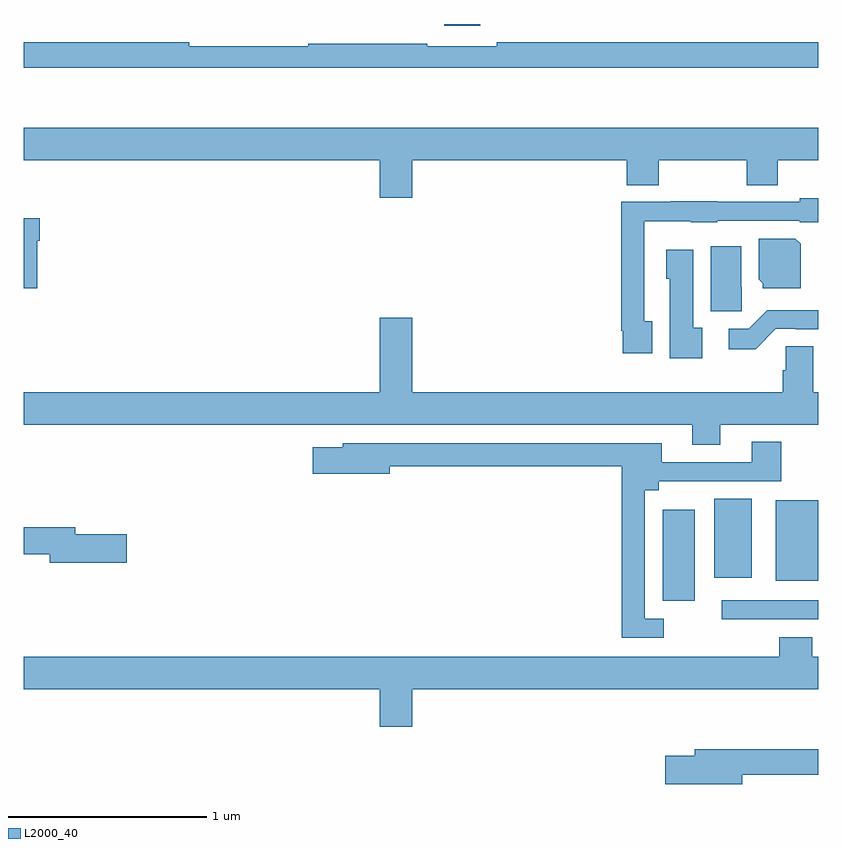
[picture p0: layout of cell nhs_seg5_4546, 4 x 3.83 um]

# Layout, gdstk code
import gdstk
lib = gdstk.Library(unit=1e-6, precision=1e-09)
def R(c, l, rs):  # rectangles x0, y0, x1, y1
    for r in rs: c.add(gdstk.rectangle(r[:2], r[2:], *l))
def P(c, l, *ps):  # polygons
    for p in ps: c.add(gdstk.Polygon(p, *l))
L2000_40 = (2000, 40)

nhs_seg5_4546 = lib.new_cell('nhs_seg5_4546')
R(nhs_seg5_4546, L2000_40, [(382.515,835.8,383,835.896), (382.217,835.895,382.378,836.353), (382.787,835.994,383,836.401), (382.478,836.009,382.666,836.407), (381.116,838.791,381.299,838.799)])
P(nhs_seg5_4546, L2000_40, [(383,838.706),(381.382,838.706),(381.382,838.686),(381.032,838.686),(381.032,838.699),(380.432,838.699),(380.432,838.688),(379.832,838.688),(379.832,838.706),(379,838.706),(379,838.578),(383,838.578)],
  [(379,838.112),(380.792,838.112),(380.792,837.924),(380.956,837.924),(380.956,838.112),(382.037,838.112),(382.037,837.988),(382.197,837.988),(382.197,838.112),(382.642,838.112),(382.642,837.988),(382.797,837.988),(382.797,838.112),(383,838.112),(383,838.276),(379,838.276)],
  [(382.165,837.302),(382.125,837.302),(382.125,837.806),(382.359,837.806),(382.359,837.8),(382.491,837.8),(382.491,837.807),(382.908,837.807),(382.908,837.8),(383,837.8),(383,837.922),(382.908,837.922),(382.908,837.903),(382.491,837.903),(382.491,837.905),(382.259,837.905),(382.259,837.903),(382.009,837.903),(382.009,837.253),(382.017,837.253),(382.017,837.141),(382.165,837.141)],
  [(379.066,837.707),(379.079,837.707),(379.079,837.82),(379,837.82),(379,837.467),(379.066,837.467)],
  [(382.912,837.692),(382.886,837.718),(382.7,837.718),(382.7,837.514),(382.722,837.492),(382.722,837.467),(382.912,837.467)],
  [(382.616,837.474),(382.612,837.474),(382.612,837.679),(382.46,837.679),(382.46,837.351),(382.616,837.351)],
  [(382.417,837.27),(382.372,837.27),(382.372,837.661),(382.235,837.661),(382.235,837.516),(382.253,837.516),(382.253,837.116),(382.417,837.116)],
  [(382.788,837.264),(382.888,837.264),(382.888,837.261),(383,837.261),(383,837.357),(382.846,837.357),(382.846,837.358),(382.744,837.358),(382.65,837.264),(382.551,837.264),(382.551,837.162),(382.686,837.162)],
  [(382.507,836.78),(383,836.78),(383,836.944),(382.975,836.944),(382.975,837.176),(382.836,837.176),(382.836,837.054),(382.823,837.054),(382.823,836.944),(380.956,836.944),(380.956,837.319),(380.792,837.319),(380.792,836.944),(379,836.944),(379,836.78),(382.367,836.78),(382.367,836.681),(382.507,836.681)],
  [(382.222,835.804),(382.128,835.804),(382.128,836.45),(382.198,836.45),(382.198,836.496),(382.815,836.496),(382.815,836.695),(382.667,836.695),(382.667,836.592),(382.213,836.592),(382.213,836.688),(380.607,836.688),(380.607,836.668),(380.454,836.668),(380.454,836.534),(380.842,836.534),(380.842,836.572),(382.012,836.572),(382.012,835.707),(382.222,835.707)],
  [(379.519,836.228),(379.258,836.228),(379.258,836.264),(379,836.264),(379,836.128),(379.13,836.128),(379.13,836.086),(379.519,836.086)],
  [(380.956,835.448),(383,835.448),(383,835.612),(382.97,835.612),(382.97,835.711),(382.805,835.711),(382.805,835.612),(379,835.612),(379,835.448),(380.792,835.448),(380.792,835.26),(380.956,835.26)],
  [(382.618,835.018),(383,835.018),(383,835.147),(382.379,835.147),(382.379,835.113),(382.23,835.113),(382.23,834.971),(382.618,834.971)])

lib.write_gds('nhs_seg5_4546.gds')
